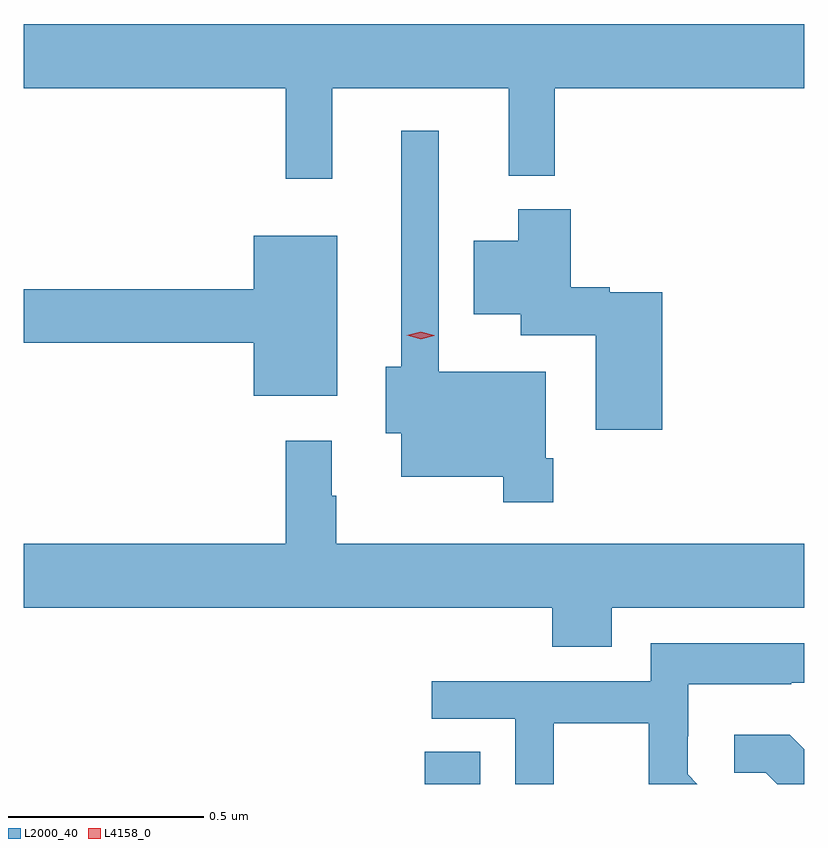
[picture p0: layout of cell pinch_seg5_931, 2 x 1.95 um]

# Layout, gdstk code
import gdstk
lib = gdstk.Library(unit=1e-6, precision=1e-09)
def R(c, l, rs):  # rectangles x0, y0, x1, y1
    for r in rs: c.add(gdstk.rectangle(r[:2], r[2:], *l))
def P(c, l, *ps):  # polygons
    for p in ps: c.add(gdstk.Polygon(p, *l))
L2000_40 = (2000, 40)
L4158_0 = (4158, 0)

pinch_seg5_931 = lib.new_cell('pinch_seg5_931')
R(pinch_seg5_931, L2000_40, [(706.364,892.273,706.507,892.355)])
P(pinch_seg5_931, L2000_40, [(706.127,894.056),(706.58,894.056),(706.58,893.831),(706.697,893.831),(706.697,894.056),(707.337,894.056),(707.337,894.22),(705.337,894.22),(705.337,894.056),(706.009,894.056),(706.009,893.823),(706.127,893.823)],
  [(706.694,893.107),(706.674,893.107),(706.674,893.329),(706.401,893.329),(706.401,893.947),(706.304,893.947),(706.304,893.342),(706.265,893.342),(706.265,893.171),(706.304,893.171),(706.304,893.06),(706.566,893.06),(706.566,892.995),(706.694,892.995)],
  [(706.973,893.533),(706.839,893.533),(706.839,893.546),(706.739,893.546),(706.739,893.746),(706.604,893.746),(706.604,893.665),(706.49,893.665),(706.49,893.477),(706.61,893.477),(706.61,893.423),(706.802,893.423),(706.802,893.181),(706.973,893.181)],
  [(706.141,893.677),(705.926,893.677),(705.926,893.54),(705.337,893.54),(705.337,893.404),(705.926,893.404),(705.926,893.267),(706.141,893.267)],
  [(706.843,892.724),(707.337,892.724),(707.337,892.888),(706.138,892.888),(706.138,893.012),(706.126,893.012),(706.126,893.152),(706.009,893.152),(706.009,892.888),(705.337,892.888),(705.337,892.724),(706.691,892.724),(706.691,892.625),(706.843,892.625)],
  [(706.695,892.428),(706.939,892.428),(706.939,892.273),(707.063,892.273),(707.038,892.298),(707.038,892.395),(707.04,892.395),(707.04,892.529),(707.303,892.529),(707.303,892.533),(707.337,892.533),(707.337,892.633),(706.944,892.633),(706.944,892.536),(706.383,892.536),(706.383,892.44),(706.596,892.44),(706.596,892.273),(706.695,892.273)],
  [(707.337,892.362),(707.3,892.399),(707.157,892.399),(707.157,892.302),(707.238,892.302),(707.267,892.273),(707.337,892.273)])
P(pinch_seg5_931, L4158_0, [(706.354,893.412),(706.318,893.423),(706.318,893.423),(706.318,893.423),(706.354,893.432),(706.389,893.422),(706.389,893.421),(706.389,893.421)])

lib.write_gds('pinch_seg5_931.gds')
